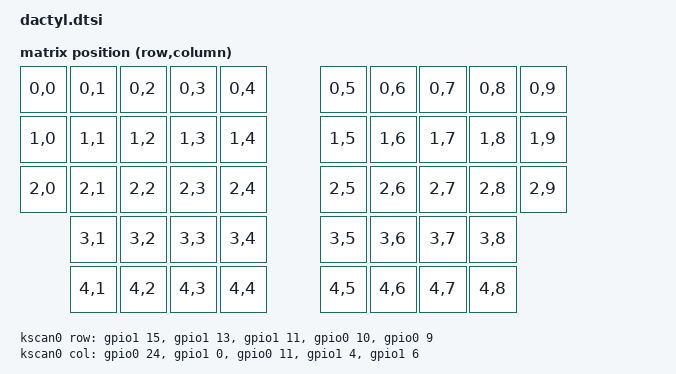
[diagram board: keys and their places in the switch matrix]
#include <dt-bindings/zmk/matrix_transform.h> // Put this with the other includes at the top of your dtsi
#include "dactyl-layouts.dtsi"


//&physical_layout0 {
//    kscan = <&kscan0>; // Label of the kscan node this layout uses
//    transform = <&default_transform>; // Label of the matrix transform this layout uses
//};


/ {
	chosen {
		zmk,kscan = &kscan0;
		//zmk,physical-layout = &physical_layout0;
		zmk,matrix-transform = &default_transform;
	};
	
    default_transform: keymap_transform0 {
        compatible = "zmk,matrix-transform";
        columns = <10>;
        rows = <5>;
        map = <
        //  LKey 1  |LKey 2  |LKey 3  |LKey 4  |LKey 5           RKey 1  |RKey 2  |RKey 3  |RKey 4  |RKey 5          
        //  LKey 6  |LKey 7  |LKey 8  |LKey 9  |LKey 10          RKey 6  |RKey 7  |RKey 8  |RKey 9  |RKey 10     
        //  LKey 11 |LKey 12 |LKey 13 |LKey 14 |LKey 15      	 RKey 11 |RKey 12 |RKey 13 |RKey 14 |RKey 15      
		//  		 LKey 16 |LKey 17 |LKey 18 |LKey 19       	 RKey 16 |RKey 17 |RKey 18 |RKey 19 	
		//  		 LKey 20 |LKey 21 |LKey 22 |LKey 23       	 RKey 20 |RKey 21 |RKey 22 |RKey 23 
		
            RC(0,0) RC(0,1) RC(0,2) RC(0,3) RC(0,4)          RC(0,5) RC(0,6) RC(0,7) RC(0,8) RC(0,9)
			RC(1,0) RC(1,1) RC(1,2) RC(1,3) RC(1,4)          RC(1,5) RC(1,6) RC(1,7) RC(1,8) RC(1,9)
			RC(2,0) RC(2,1) RC(2,2) RC(2,3) RC(2,4)          RC(2,5) RC(2,6) RC(2,7) RC(2,8) RC(2,9)
					RC(3,1) RC(3,2) RC(3,3) RC(3,4)          RC(3,5) RC(3,6) RC(3,7) RC(3,8) 
					RC(4,1) RC(4,2) RC(4,3) RC(4,4)          RC(4,5) RC(4,6) RC(4,7) RC(4,8) 	
        >;
    };

    kscan0: kscan0 {
        compatible = "zmk,kscan-gpio-matrix";
        diode-direction = "col2row";
        wakeup-source;

        row-gpios
            = <&gpio1 15 (GPIO_ACTIVE_HIGH | GPIO_PULL_DOWN)>
            , <&gpio1 13 (GPIO_ACTIVE_HIGH | GPIO_PULL_DOWN)>
            , <&gpio1 11 (GPIO_ACTIVE_HIGH | GPIO_PULL_DOWN)>
			, <&gpio0 10 (GPIO_ACTIVE_HIGH | GPIO_PULL_DOWN)>
			, <&gpio0 9 (GPIO_ACTIVE_HIGH | GPIO_PULL_DOWN)>
            ;
			
		col-gpios
            = <&gpio0 24 GPIO_ACTIVE_HIGH>
            , <&gpio1 0 GPIO_ACTIVE_HIGH>
            , <&gpio0 11 GPIO_ACTIVE_HIGH>
            , <&gpio1 4 GPIO_ACTIVE_HIGH>
            , <&gpio1 6 GPIO_ACTIVE_HIGH>
            ;
    };
};

